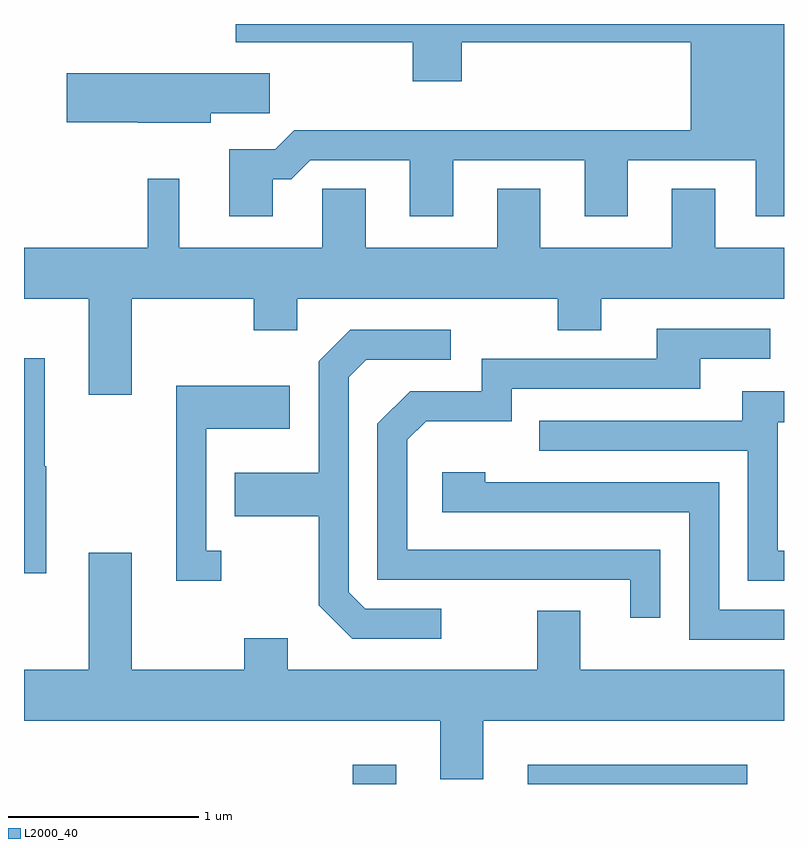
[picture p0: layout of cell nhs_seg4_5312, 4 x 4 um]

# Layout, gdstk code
import gdstk
lib = gdstk.Library(unit=1e-6, precision=1e-09)
def R(c, l, rs):  # rectangles x0, y0, x1, y1
    for r in rs: c.add(gdstk.rectangle(r[:2], r[2:], *l))
def P(c, l, *ps):  # polygons
    for p in ps: c.add(gdstk.Polygon(p, *l))
L2000_40 = (2000, 40)

nhs_seg4_5312 = lib.new_cell('nhs_seg4_5312')
R(nhs_seg4_5312, L2000_40, [(343.341,1269.982,343.569,1270.084), (344.261,1269.982,345.418,1270.084)])
P(nhs_seg4_5312, L2000_40, [(342.919,1273.166),(343.017,1273.166),(343.117,1273.266),(343.641,1273.266),(343.641,1272.971),(343.869,1272.971),(343.869,1273.266),(344.561,1273.266),(344.561,1272.971),(344.789,1272.971),(344.789,1273.266),(345.461,1273.266),(345.461,1272.971),(345.611,1272.971),(345.611,1273.982),(342.726,1273.982),(342.726,1273.886),(343.656,1273.886),(343.656,1273.681),(343.914,1273.681),(343.914,1273.886),(345.121,1273.886),(345.121,1273.424),(343.034,1273.424),(342.934,1273.324),(342.691,1273.324),(342.691,1272.971),(342.919,1272.971)],
  [(342.594,1273.511),(342.904,1273.511),(342.904,1273.724),(341.836,1273.724),(341.836,1273.466),(342.21,1273.466),(342.21,1273.461),(342.594,1273.461)],
  [(342.179,1272.536),(342.821,1272.536),(342.821,1272.371),(343.049,1272.371),(343.049,1272.536),(344.421,1272.536),(344.421,1272.371),(344.649,1272.371),(344.649,1272.536),(345.611,1272.536),(345.611,1272.804),(345.249,1272.804),(345.249,1273.114),(345.021,1273.114),(345.021,1272.804),(344.329,1272.804),(344.329,1273.114),(344.101,1273.114),(344.101,1272.804),(343.409,1272.804),(343.409,1273.114),(343.181,1273.114),(343.181,1272.804),(342.429,1272.804),(342.429,1273.168),(342.261,1273.168),(342.261,1272.804),(341.611,1272.804),(341.611,1272.536),(341.951,1272.536),(341.951,1272.031),(342.179,1272.031)],
  [(344.959,1271.214),(343.629,1271.214),(343.629,1271.794),(343.727,1271.891),(344.179,1271.891),(344.179,1272.061),(345.169,1272.061),(345.169,1272.221),(345.538,1272.221),(345.538,1272.379),(344.941,1272.379),(344.941,1272.219),(344.021,1272.219),(344.021,1272.049),(343.644,1272.049),(343.471,1271.877),(343.471,1271.056),(344.801,1271.056),(344.801,1270.858),(344.959,1270.858)],
  [(343.808,1270.904),(343.407,1270.904),(343.319,1270.992),(343.319,1272.124),(343.412,1272.216),(343.858,1272.216),(343.858,1272.374),(343.329,1272.374),(343.161,1272.207),(343.161,1271.619),(342.721,1271.619),(342.721,1271.391),(343.161,1271.391),(343.161,1270.924),(343.339,1270.746),(343.808,1270.746)],
  [(341.729,1271.655),(341.719,1271.655),(341.719,1272.224),(341.611,1272.224),(341.611,1271.091),(341.729,1271.091)],
  [(342.648,1271.209),(342.569,1271.209),(342.569,1271.851),(343.009,1271.851),(343.009,1272.079),(342.411,1272.079),(342.411,1271.051),(342.648,1271.051)],
  [(345.611,1271.209),(345.579,1271.209),(345.579,1271.886),(345.611,1271.886),(345.611,1272.049),(345.391,1272.049),(345.391,1271.894),(344.323,1271.894),(344.323,1271.736),(345.421,1271.736),(345.421,1271.051),(345.611,1271.051)],
  [(345.611,1270.899),(345.269,1270.899),(345.269,1271.569),(344.039,1271.569),(344.039,1271.624),(343.811,1271.624),(343.811,1271.411),(345.111,1271.411),(345.111,1270.741),(345.611,1270.741)],
  [(344.029,1270.316),(345.611,1270.316),(345.611,1270.584),(344.539,1270.584),(344.539,1270.894),(344.311,1270.894),(344.311,1270.584),(342.999,1270.584),(342.999,1270.749),(342.771,1270.749),(342.771,1270.584),(342.179,1270.584),(342.179,1271.199),(341.951,1271.199),(341.951,1270.584),(341.611,1270.584),(341.611,1270.316),(343.801,1270.316),(343.801,1270.006),(344.029,1270.006)])

lib.write_gds('nhs_seg4_5312.gds')
